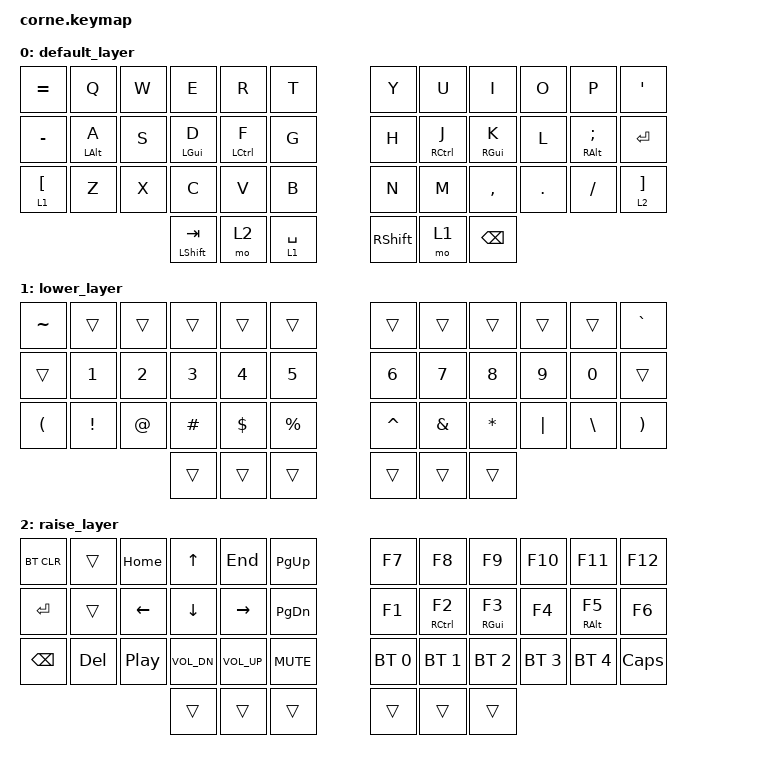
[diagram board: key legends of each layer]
#include <behaviors.dtsi>
#include <dt-bindings/zmk/keys.h>
#include <dt-bindings/zmk/bt.h>

/ {
    behaviors {
        hm: homerow_mods {
            compatible = "zmk,behavior-hold-tap";
            #binding-cells = <2>;
            tapping-term-ms = <200>;
            quick-tap-ms = <75>;
            flavor = "tap-preferred";
            bindings = <&kp>, <&kp>;
        };
        slt: spacebar_layer_tap {
            compatible = "zmk,behavior-hold-tap";
            #binding-cells = <2>;
            tapping-term-ms = <200>;
            quick-tap-ms = <125>;
            flavor = "tap-preferred";
            bindings = <&mo>, <&kp>;
        };
    };

   combos {
        compatible = "zmk,combos";
        combo_esc {
            timeout-ms = <25>;
            key-positions = <27 28>;
            bindings = <&kp ESC>;
            layers = <0>;
        };
    };

    keymap {
        compatible = "zmk,keymap";

        default_layer {
            bindings = <
                &kp EQUAL &kp Q      &kp W &kp E      &kp R       &kp T     /**/     &kp Y &kp U       &kp I      &kp O   &kp P         &kp SQT
                &kp MINUS &hm LALT A &kp S &hm LGUI D &hm LCTRL F &kp G     /**/     &kp H &hm RCTRL J &hm RGUI K &kp L   &hm RALT SEMI &kp RET
                &lt 1 LBKT  &kp Z    &kp X &kp C      &kp V       &kp B     /**/     &kp N &kp M       &kp COMMA  &kp DOT &kp FSLH      &lt 2 RBKT
                                       &hm LSHFT TAB  &mo 2  &slt 1 SPACE   /**/   &kp RSHFT  &mo 1  &kp BSPC
            >;
        };

        lower_layer {
            bindings = <
                &kp TILDE &trans   &trans  &trans    &trans    &trans        /**/     &trans       &trans       &trans       &trans       &trans       &kp GRAVE
                &trans    &kp N1   &kp N2  &kp N3    &kp N4    &kp N5        /**/     &kp N6       &kp N7       &kp N8       &kp N9       &kp N0       &trans
                &kp LPAR  &kp EXCL &kp AT  &kp HASH  &kp DLLR  &kp PRCNT     /**/     &kp CARET    &kp AMPS     &kp STAR     &kp PIPE     &kp BSLH     &kp RPAR
                                                &trans    &trans    &trans   /**/   &trans     &trans   &trans
            >;
        };

        raise_layer {
            bindings = <
                &bt BT_CLR &trans     &kp HOME  &kp UP       &kp END       &kp PG_UP      /**/     &kp F7       &kp F8       &kp F9       &kp F10      &kp F11      &kp F12
                &kp RET    &trans     &kp LEFT  &kp DOWN     &kp RIGHT     &kp PG_DN      /**/     &kp F1       &hm RCTRL F2 &hm RGUI F3  &kp F4       &hm RALT F5  &kp F6
                &kp BSPC   &kp DEL    &kp C_PP  &kp C_VOL_DN &kp C_VOL_UP  &kp C_MUTE     /**/     &bt BT_SEL 0 &bt BT_SEL 1 &bt BT_SEL 2 &bt BT_SEL 3 &bt BT_SEL 4 &kp CAPS
                                                                 &trans  &trans  &trans   /**/   &trans   &trans   &trans
            >;
        };
    };
};
